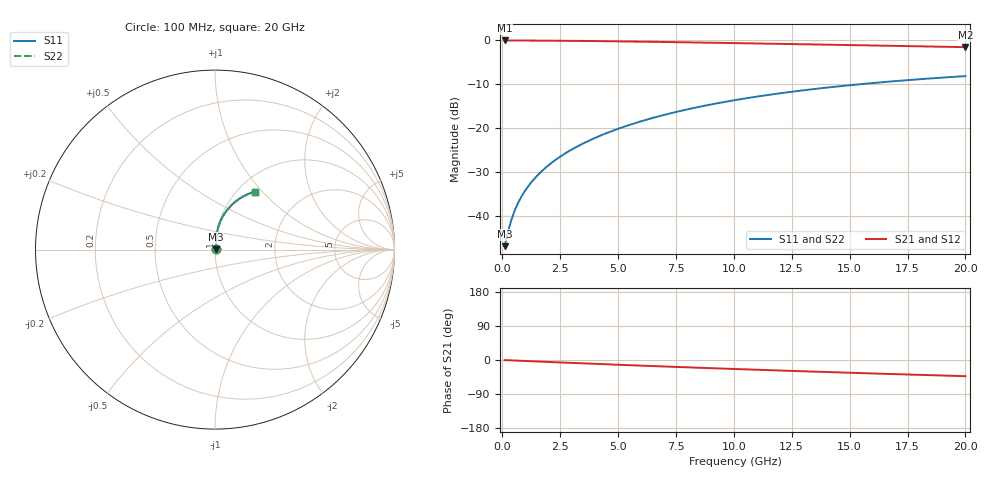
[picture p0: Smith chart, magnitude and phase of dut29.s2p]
! Touchstone file exported from HFSS 2024.1.0
!  File:  C:/UserFiles/LocalFiles/RDL_TSV_Batchsim/temp_RDL_top_29_1778680509.aedt
!  Generated:  09:57:26 PM May 13, 2026
!  Design:  RDL_top
!  Project:  temp_RDL_top_29_1778680509
!  Setup:  Setup1
!  Solution:  Sweep
! Variables:
!  dtsv = 10.80580581um
!  hbump = 3um
!  htsv = 86.29um
!  ldown = 100um
!  lrdl = 565.76um
!  p = 40
!  p1 = 57.34um
!  rhole = 1um
!  t = 450um
!  tdown = 3.915915916um
!  trdl = 2.15um
!  wdown = 15.38538539um
!  wrdl = 24.7um
# GHz S MA R 50.000000
! Terminal data exported
! Port[1] = Box2_T1
! Port[2] = Box2_T2
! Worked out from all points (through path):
!   200 points, 100 MHz to 20 GHz, reference 50 ohm
!   highest |S21| = -0.04 dB at 100 MHz (marker M1); lowest = -1.6 dB at 20 GHz (marker M2)
!   group delay of S21, straight-line fit = 5.89 ps
!   lowest |S11| = -46.7 dB at 100 MHz (marker M3), VSWR 1.01, Z = 50.4 + j0.21 ohm
!   |S11| at or under -10 dB: start of sweep to 15.39 GHz
!   |S22| runs from -46.7 to -8.1 dB; largest |S21 - S12| = 3.3e-15
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0.1  0.004605 26.9  0.9959 -0.3  0.9959 -0.3  0.004605 26.9
! Gamma 0 0 0 0
! Port Impedance 50 0 50 0
0.3  0.007534 54.6  0.9955 -0.8  0.9955 -0.8  0.007534 54.6
0.4  0.009269 60.7  0.9953 -1.1  0.9953 -1.1  0.009269 60.7
0.5  0.01103 64.8  0.9951 -1.3  0.9951 -1.3  0.01103 64.8
0.6  0.0128 67.8  0.9948 -1.6  0.9948 -1.6  0.0128 67.8
0.7  0.01457 70.0  0.9946 -1.9  0.9946 -1.9  0.01457 70.0
0.9  0.01812 73.4  0.9941 -2.4  0.9941 -2.4  0.01812 73.4
1.2  0.02349 76.7  0.9932 -3.1  0.9932 -3.1  0.02349 76.7
1.7  0.03263 79.9  0.9917 -4.4  0.9917 -4.4  0.03263 79.9
2.2  0.04203 81.8  0.9897 -5.7  0.9897 -5.7  0.04203 81.7
2.8  0.05364 82.9  0.9869 -7.2  0.9869 -7.2  0.05363 82.9
3.5  0.06761 83.5  0.983 -8.9  0.983 -8.9  0.0676 83.5
4.2  0.08201 83.6  0.9786 -10.7  0.9786 -10.7  0.08199 83.5
5  0.09891 83.1  0.9729 -12.6  0.9729 -12.6  0.09889 83.1
5.9  0.1184 82.2  0.9659 -14.7  0.9659 -14.7  0.1183 82.2
6.8  0.1381 80.9  0.9585 -16.7  0.9585 -16.7  0.1381 80.9
8.4  0.1735 78.2  0.9445 -20.3  0.9445 -20.3  0.1734 78.2
10.1  0.2105 74.9  0.9291 -23.9  0.9291 -23.9  0.2104 74.9
11.7  0.2443 71.6  0.9142 -27.2  0.9142 -27.2  0.2442 71.6
13.4  0.2786 68.2  0.8981 -30.6  0.8981 -30.6  0.2785 68.1
16.7  0.3395 61.6  0.8668 -36.8  0.8668 -36.8  0.3393 61.6
20  0.3924 55.4  0.8359 -42.7  0.8359 -42.7  0.3923 55.4
